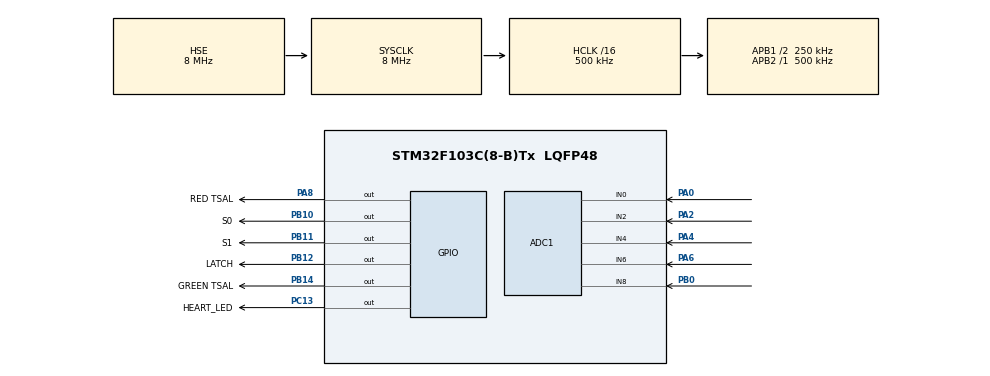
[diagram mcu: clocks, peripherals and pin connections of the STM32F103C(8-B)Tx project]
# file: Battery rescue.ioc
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ADC1.Channel-0\#ChannelRegularConversion=ADC_CHANNEL_0
ADC1.Channel-1\#ChannelRegularConversion=ADC_CHANNEL_2
ADC1.Channel-2\#ChannelRegularConversion=ADC_CHANNEL_4
ADC1.Channel-3\#ChannelRegularConversion=ADC_CHANNEL_6
ADC1.Channel-4\#ChannelRegularConversion=ADC_CHANNEL_8
ADC1.ContinuousConvMode=ENABLE
ADC1.EnableAnalogWatchDog=true
ADC1.NbrOfConversion=5
ADC1.NbrOfConversionFlag=1
ADC1.Rank-0\#ChannelRegularConversion=1
ADC1.Rank-1\#ChannelRegularConversion=2
ADC1.Rank-2\#ChannelRegularConversion=3
ADC1.Rank-3\#ChannelRegularConversion=4
ADC1.Rank-4\#ChannelRegularConversion=5
ADC1.SamplingTime-0\#ChannelRegularConversion=ADC_SAMPLETIME_71CYCLES_5
ADC1.SamplingTime-1\#ChannelRegularConversion=ADC_SAMPLETIME_71CYCLES_5
ADC1.SamplingTime-2\#ChannelRegularConversion=ADC_SAMPLETIME_71CYCLES_5
ADC1.SamplingTime-3\#ChannelRegularConversion=ADC_SAMPLETIME_71CYCLES_5
ADC1.SamplingTime-4\#ChannelRegularConversion=ADC_SAMPLETIME_71CYCLES_5
ADC1.master=1
Dma.ADC1.0.Direction=DMA_PERIPH_TO_MEMORY
Dma.ADC1.0.Instance=DMA1_Channel1
Dma.ADC1.0.MemDataAlignment=DMA_MDATAALIGN_HALFWORD
Dma.ADC1.0.MemInc=DMA_MINC_ENABLE
Dma.ADC1.0.Mode=DMA_CIRCULAR
Dma.ADC1.0.PeriphDataAlignment=DMA_PDATAALIGN_HALFWORD
Dma.ADC1.0.PeriphInc=DMA_PINC_DISABLE
Dma.ADC1.0.Priority=DMA_PRIORITY_HIGH
Dma.Request0=ADC1
Mcu.Family=STM32F1
Mcu.Name=STM32F103C(8-B)Tx
Mcu.Package=LQFP48
NVIC.DMA1_Channel1_IRQn=true\:0\:0\:false\:false\:true\:false\:true\:true
NVIC.PriorityGroup=NVIC_PRIORITYGROUP_4
PA0-WKUP.Signal=ADCx_IN0
PA2.Signal=ADCx_IN2
PA4.Signal=ADCx_IN4
PA6.Signal=ADCx_IN6
PA8.GPIO_Label=RED TSAL
PA8.GPIO_PuPd=GPIO_PULLDOWN
PA8.Signal=GPIO_Output
PB0.Signal=ADCx_IN8
PB10.GPIO_Label=S0
PB10.Signal=GPIO_Output
PB11.GPIO_Label=S1
PB11.Signal=GPIO_Output
PB12.GPIO_Label=LATCH
PB12.GPIO_ModeDefaultOutputPP=GPIO_MODE_OUTPUT_OD
PB12.GPIO_PuPd=GPIO_PULLUP
PB12.Signal=GPIO_Output
PB14.GPIO_Label=GREEN TSAL
PB14.GPIO_PuPd=GPIO_PULLDOWN
PB14.Signal=GPIO_Output
PC13-TAMPER-RTC.GPIO_Label=HEART_LED
PC13-TAMPER-RTC.Signal=GPIO_Output
PD0-OSC_IN.Mode=HSE-External-Oscillator
PD0-OSC_IN.Signal=RCC_OSC_IN
PD1-OSC_OUT.Mode=HSE-External-Oscillator
PD1-OSC_OUT.Signal=RCC_OSC_OUT
ProjectManager.HeapSize=0x200
ProjectManager.StackSize=0x400
ProjectManager.TargetToolchain=STM32CubeIDE
RCC.ADCPresc=RCC_ADCPCLK2_DIV8
RCC.AHBCLKDivider=RCC_SYSCLK_DIV16
RCC.AHBFreq_Value=500000
RCC.APB1CLKDivider=RCC_HCLK_DIV2
RCC.APB1Freq_Value=250000
RCC.APB1TimFreq_Value=500000
RCC.APB2Freq_Value=500000
RCC.APB2TimFreq_Value=500000
RCC.HCLKFreq_Value=500000
RCC.PLLSourceVirtual=RCC_PLLSOURCE_HSE
RCC.SYSCLKFreq_VALUE=8000000
RCC.SYSCLKSource=RCC_SYSCLKSOURCE_HSE
RCC.USBFreq_Value=16000000
SH.ADCx_IN0.0=ADC1_IN0,IN0
SH.ADCx_IN2.0=ADC1_IN2,IN2
SH.ADCx_IN4.0=ADC1_IN4,IN4
SH.ADCx_IN6.0=ADC1_IN6,IN6
SH.ADCx_IN8.0=ADC1_IN8,IN8
VP_SYS_VS_ND.Mode=No_Debug
board=custom

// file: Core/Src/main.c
/* USER CODE BEGIN Header */
/**
  ******************************************************************************
  * @file           : main.c
  * @brief          : Main program body
  ******************************************************************************
  * @attention
  *
  * Copyright (c) 2026 STMicroelectronics.
  * All rights reserved.
  *
  * This software is licensed under terms that can be found in the LICENSE file
  * in the root directory of this software component.
  * If no LICENSE file comes with this software, it is provided AS-IS.
  *
  ******************************************************************************
  */
/* USER CODE END Header */
#include "main.h"

/* USER CODE BEGIN Includes */
#include <stdint.h>
/* USER CODE END Includes */

/* USER CODE BEGIN PD */
#define Current_Sensor_TH 0
/* USER CODE END PD */

ADC_HandleTypeDef hadc1;
DMA_HandleTypeDef hdma_adc1;

/* USER CODE BEGIN PV */
uint16_t adc_values[5];
uint16_t mux1, mux2, mux3, mux4, current_sensor, binary = 0;
/* USER CODE END PV */

void SystemClock_Config(void);
static void MX_GPIO_Init(void);
static void MX_DMA_Init(void);
static void MX_ADC1_Init(void);

int main(void)
{

  /* MCU Configuration--------------------------------------------------------*/

  /* Reset of all peripherals, Initializes the Flash interface and the Systick. */
  HAL_Init();

  /* Configure the system clock */
  SystemClock_Config();

  /* Initialize all configured peripherals */
  MX_GPIO_Init();
  MX_DMA_Init();
  MX_ADC1_Init();
  /* USER CODE BEGIN 2 */
  HAL_ADCEx_Calibration_Start(&hadc1);
  HAL_ADC_Start_DMA(&hadc1, (uint32_t*)adc_values, 5);
  /* USER CODE END 2 */

  /* Infinite loop */
  /* USER CODE BEGIN WHILE */
  while (1)
  {
	  HAL_GPIO_TogglePin(HEART_LED_GPIO_Port, HEART_LED_Pin);
	  HAL_Delay(100);
    /* USER CODE END WHILE */

  }
}

void SystemClock_Config(void)
{
  RCC_OscInitTypeDef RCC_OscInitStruct = {0};
  RCC_ClkInitTypeDef RCC_ClkInitStruct = {0};
  RCC_PeriphCLKInitTypeDef PeriphClkInit = {0};

  /** Initializes the RCC Oscillators according to the specified parameters
  * in the RCC_OscInitTypeDef structure.
  */
  RCC_OscInitStruct.OscillatorType = RCC_OSCILLATORTYPE_HSE;
  RCC_OscInitStruct.HSEState = RCC_HSE_ON;
  RCC_OscInitStruct.PLL.PLLState = RCC_PLL_NONE;
  if (HAL_RCC_OscConfig(&RCC_OscInitStruct) != HAL_OK)
  {
    Error_Handler();
  }

  /** Initializes the CPU, AHB and APB buses clocks
  */
  RCC_ClkInitStruct.ClockType = RCC_CLOCKTYPE_HCLK|RCC_CLOCKTYPE_SYSCLK
                              |RCC_CLOCKTYPE_PCLK1|RCC_CLOCKTYPE_PCLK2;
  RCC_ClkInitStruct.SYSCLKSource = RCC_SYSCLKSOURCE_HSE;
  RCC_ClkInitStruct.AHBCLKDivider = RCC_SYSCLK_DIV16;
  RCC_ClkInitStruct.APB1CLKDivider = RCC_HCLK_DIV2;
  RCC_ClkInitStruct.APB2CLKDivider = RCC_HCLK_DIV1;

  if (HAL_RCC_ClockConfig(&RCC_ClkInitStruct, FLASH_LATENCY_0) != HAL_OK)
  {
    Error_Handler();
  }
  PeriphClkInit.PeriphClockSelection = RCC_PERIPHCLK_ADC;
  PeriphClkInit.AdcClockSelection = RCC_ADCPCLK2_DIV8;
  if (HAL_RCCEx_PeriphCLKConfig(&PeriphClkInit) != HAL_OK)
  {
    Error_Handler();
  }
}

static void MX_ADC1_Init(void)
{

  ADC_AnalogWDGConfTypeDef AnalogWDGConfig = {0};
  ADC_ChannelConfTypeDef sConfig = {0};

  /** Common config
  */
  hadc1.Instance = ADC1;
  hadc1.Init.ScanConvMode = ADC_SCAN_ENABLE;
  hadc1.Init.ContinuousConvMode = ENABLE;
  hadc1.Init.DiscontinuousConvMode = DISABLE;
  hadc1.Init.ExternalTrigConv = ADC_SOFTWARE_START;
  hadc1.Init.DataAlign = ADC_DATAALIGN_RIGHT;
  hadc1.Init.NbrOfConversion = 5;
  if (HAL_ADC_Init(&hadc1) != HAL_OK)
  {
    Error_Handler();
  }

  /** Configure Analog WatchDog 1
  */
  AnalogWDGConfig.WatchdogMode = ADC_ANALOGWATCHDOG_SINGLE_REG;
  AnalogWDGConfig.HighThreshold = 0;
  AnalogWDGConfig.LowThreshold = 0;
  AnalogWDGConfig.Channel = ADC_CHANNEL_0;
  AnalogWDGConfig.ITMode = DISABLE;
  if (HAL_ADC_AnalogWDGConfig(&hadc1, &AnalogWDGConfig) != HAL_OK)
  {
    Error_Handler();
  }

  /** Configure Regular Channel
  */
  sConfig.Channel = ADC_CHANNEL_0;
  sConfig.Rank = ADC_REGULAR_RANK_1;
  sConfig.SamplingTime = ADC_SAMPLETIME_71CYCLES_5;
  if (HAL_ADC_ConfigChannel(&hadc1, &sConfig) != HAL_OK)
  {
    Error_Handler();
  }

  /** Configure Regular Channel
  */
  sConfig.Channel = ADC_CHANNEL_2;
  sConfig.Rank = ADC_REGULAR_RANK_2;
  if (HAL_ADC_ConfigChannel(&hadc1, &sConfig) != HAL_OK)
  {
    Error_Handler();
  }

  /** Configure Regular Channel
  */
  sConfig.Channel = ADC_CHANNEL_4;
  sConfig.Rank = ADC_REGULAR_RANK_3;
  if (HAL_ADC_ConfigChannel(&hadc1, &sConfig) != HAL_OK)
  {
    Error_Handler();
  }

  /** Configure Regular Channel
  */
  sConfig.Channel = ADC_CHANNEL_6;
  sConfig.Rank = ADC_REGULAR_RANK_4;
  if (HAL_ADC_ConfigChannel(&hadc1, &sConfig) != HAL_OK)
  {
    Error_Handler();
  }

  /** Configure Regular Channel
  */
  sConfig.Channel = ADC_CHANNEL_8;
  sConfig.Rank = ADC_REGULAR_RANK_5;
  if (HAL_ADC_ConfigChannel(&hadc1, &sConfig) != HAL_OK)
  {
    Error_Handler();
  }

}

static void MX_DMA_Init(void)
{

  /* DMA controller clock enable */
  __HAL_RCC_DMA1_CLK_ENABLE();

  /* DMA interrupt init */
  /* DMA1_Channel1_IRQn interrupt configuration */
  HAL_NVIC_SetPriority(DMA1_Channel1_IRQn, 0, 0);
  HAL_NVIC_EnableIRQ(DMA1_Channel1_IRQn);

}

static void MX_GPIO_Init(void)
{
  GPIO_InitTypeDef GPIO_InitStruct = {0};

  /* GPIO Ports Clock Enable */
  __HAL_RCC_GPIOC_CLK_ENABLE();
  __HAL_RCC_GPIOD_CLK_ENABLE();
  __HAL_RCC_GPIOA_CLK_ENABLE();
  __HAL_RCC_GPIOB_CLK_ENABLE();

  /*Configure GPIO pin Output Level */
  HAL_GPIO_WritePin(HEART_LED_GPIO_Port, HEART_LED_Pin, GPIO_PIN_RESET);

  /*Configure GPIO pin Output Level */
  HAL_GPIO_WritePin(GPIOB, S0_Pin|S1_Pin|LATCH_Pin|GREEN_TSAL_Pin, GPIO_PIN_RESET);

  /*Configure GPIO pin Output Level */
  HAL_GPIO_WritePin(RED_TSAL_GPIO_Port, RED_TSAL_Pin, GPIO_PIN_RESET);

  /*Configure GPIO pin : HEART_LED_Pin */
  GPIO_InitStruct.Pin = HEART_LED_Pin;
  GPIO_InitStruct.Mode = GPIO_MODE_OUTPUT_PP;
  GPIO_InitStruct.Pull = GPIO_NOPULL;
  GPIO_InitStruct.Speed = GPIO_SPEED_FREQ_LOW;
  HAL_GPIO_Init(HEART_LED_GPIO_Port, &GPIO_InitStruct);

  /*Configure GPIO pins : S0_Pin S1_Pin */
  GPIO_InitStruct.Pin = S0_Pin|S1_Pin;
  GPIO_InitStruct.Mode = GPIO_MODE_OUTPUT_PP;
  GPIO_InitStruct.Pull = GPIO_NOPULL;
  GPIO_InitStruct.Speed = GPIO_SPEED_FREQ_LOW;
  HAL_GPIO_Init(GPIOB, &GPIO_InitStruct);

  /*Configure GPIO pin : LATCH_Pin */
  GPIO_InitStruct.Pin = LATCH_Pin;
  GPIO_InitStruct.Mode = GPIO_MODE_OUTPUT_OD;
  GPIO_InitStruct.Pull = GPIO_PULLUP;
  GPIO_InitStruct.Speed = GPIO_SPEED_FREQ_LOW;
  HAL_GPIO_Init(LATCH_GPIO_Port, &GPIO_InitStruct);

  /*Configure GPIO pin : GREEN_TSAL_Pin */
  GPIO_InitStruct.Pin = GREEN_TSAL_Pin;
  GPIO_InitStruct.Mode = GPIO_MODE_OUTPUT_PP;
  GPIO_InitStruct.Pull = GPIO_PULLDOWN;
  GPIO_InitStruct.Speed = GPIO_SPEED_FREQ_LOW;
  HAL_GPIO_Init(GREEN_TSAL_GPIO_Port, &GPIO_InitStruct);

  /*Configure GPIO pin : RED_TSAL_Pin */
  GPIO_InitStruct.Pin = RED_TSAL_Pin;
  GPIO_InitStruct.Mode = GPIO_MODE_OUTPUT_PP;
  GPIO_InitStruct.Pull = GPIO_PULLDOWN;
  GPIO_InitStruct.Speed = GPIO_SPEED_FREQ_LOW;
  HAL_GPIO_Init(RED_TSAL_GPIO_Port, &GPIO_InitStruct);

}

/* USER CODE BEGIN 4 */
void HAL_ADC_ConvCpltCallback(ADC_HandleTypeDef* hadc)
{
    // Check if the callback was triggered by ADC1
    if (hadc->Instance == ADC1)
    {
    	HAL_GPIO_TogglePin(S0_GPIO_Port, S0_Pin);
    	if(binary%2 == 1) {
    		HAL_GPIO_TogglePin(S1_GPIO_Port, S1_Pin);
    	}
    	mux1 = adc_values[0];
    	mux2 = adc_values[1];
    	mux3 = adc_values[2];
    	mux4 = adc_values[3];
    	current_sensor = adc_values[4];

    	if(mux1 < 2040 || mux2 < 2040 || mux3 < 2040 || mux4 < 2040) {
    		HAL_GPIO_WritePin(LATCH_GPIO_Port, LATCH_Pin, GPIO_PIN_RESET);
    	}
    	if(current_sensor > Current_Sensor_TH) {
    		HAL_GPIO_WritePin(RED_TSAL_GPIO_Port, RED_TSAL_Pin, GPIO_PIN_SET);
    		HAL_GPIO_WritePin(GREEN_TSAL_GPIO_Port, GREEN_TSAL_Pin, GPIO_PIN_RESET);
    	} else {
    		HAL_GPIO_WritePin(GREEN_TSAL_GPIO_Port, GREEN_TSAL_Pin, GPIO_PIN_SET);
    		HAL_GPIO_WritePin(RED_TSAL_GPIO_Port, RED_TSAL_Pin, GPIO_PIN_RESET);
    	}
    	binary++;
    }
}
/* USER CODE END 4 */

void Error_Handler(void)
{
  __disable_irq();
  while (1)
  {
  }
}
